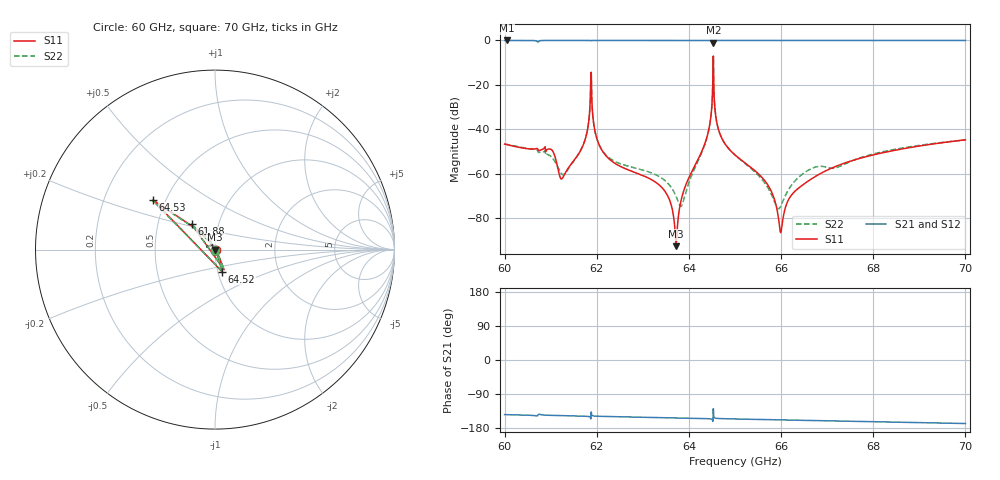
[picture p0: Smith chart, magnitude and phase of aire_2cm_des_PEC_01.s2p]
! TOUCHSTONE file generated by CST MICROWAVE STUDIO
! Date and time: Mon Feb 26 23:48:05 2024
! Project name: aire_des.cst
! Header version: 2018
! Port assignment regex: !\s*Touchstone port\s*([0-9]+)\s*=\s*(CST MWS port|CST DS port)\s*([0-9]+|Zmin|Zmax)\s*\(\"(.*)\"\)(\s*mode\s*([0-9]+))?.*
! Touchstone port assignment:
! Touchstone port 1 = CST MWS port 1 ("")
! Touchstone port 2 = CST MWS port 2 ("")
# GHz S MA R 376.7
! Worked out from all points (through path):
!   1001 points, 60 GHz to 70 GHz, reference 376.7 ohm
!   highest |S21| = 0.00 dB at 60.05 GHz (marker M1); lowest = -0.9 dB at 64.53 GHz (marker M2)
!   lowest |S11| = -92.7 dB at 63.72 GHz (marker M3), VSWR 1.00, Z = 377 + j0.0094 ohm
!   |S11| at or under -10 dB: start of sweep to 64.53 GHz; 64.53 GHz to end of sweep
!   |S22| runs from -75.8 to -7.1 dB; largest |S21 - S12| = 0.11
!   S11 on the Smith chart (normalised r, x): 60 GHz: 1.01, -0.01; 61.88 GHz: 0.74, +0.22; 64.52 GHz: 1.05, -0.26; 64.53 GHz: 0.43, +0.29; 70 GHz: 1.00, -0.01
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60  0.00464 -52.9  1 -144.1  0.9996 -144.1  0.004679 -53.9
60.05  0.004507 -51.8  1 -144.2  0.9996 -144.2  0.004564 -51.5
61  0.003554 33.3  1 -146.0  1 -145.8  0.002466 58.6
61.24  0.0007635 -150.1  0.9999 -146.8  1 -146.8  0.0009803 174.4
61.67  0.003652 -61.8  0.9998 -148.0  0.9998 -148.0  0.003686 -62.6
61.88  0.1923 132.7  0.9814 -137.3  0.9812 -137.2  0.1928 132.9
62  0.006246 121.8  0.9999 -148.3  0.9998 -148.3  0.006249 119.9
62.2  0.002533 120.0  1 -149.0  0.9998 -149.0  0.002622 113.9
63.34  0.0005731 112.1  1 -151.8  0.9998 -151.8  0.0008768 99.3
63.72  2.33e-05 32.4  1 -152.8  0.9999 -152.8  0.000311 76.7
63.85  0.0003045 -61.4  1 -153.1  0.9999 -153.1  0.000197 1.3
64.31  0.003783 -65.1  1 -154.4  1 -154.4  0.003625 -62.5
64.52  0.1293 -72.2  0.9904 -162.1  0.9915 -162.0  0.1282 -71.7
64.53  0.4417 141.3  0.8969 -128.5  0.8969 -128.4  0.4417 141.8
64.68  0.007517 115.9  1 -154.6  1 -154.6  0.00754 115.1
65  0.002642 116.7  0.9999 -155.6  0.9999 -155.6  0.002625 113.3
65.67  0.0006444 126.9  1 -157.3  1 -157.3  0.0005682 101.9
65.99  4.695e-05 -138.4  1 -158.1  1 -158.1  0.0001829 1.9
66.24  0.0003441 -49.9  1 -158.7  1 -158.7  0.0005756 -41.9
66.67  0.0007755 -62.1  1 -159.7  0.9999 -159.7  0.001316 -42.8
68.34  0.003165 -74.8  0.9998 -163.7  0.9999 -163.7  0.003331 -70.5
70  0.005798 -79.8  0.9997 -167.6  1 -167.6  0.005749 -75.1
